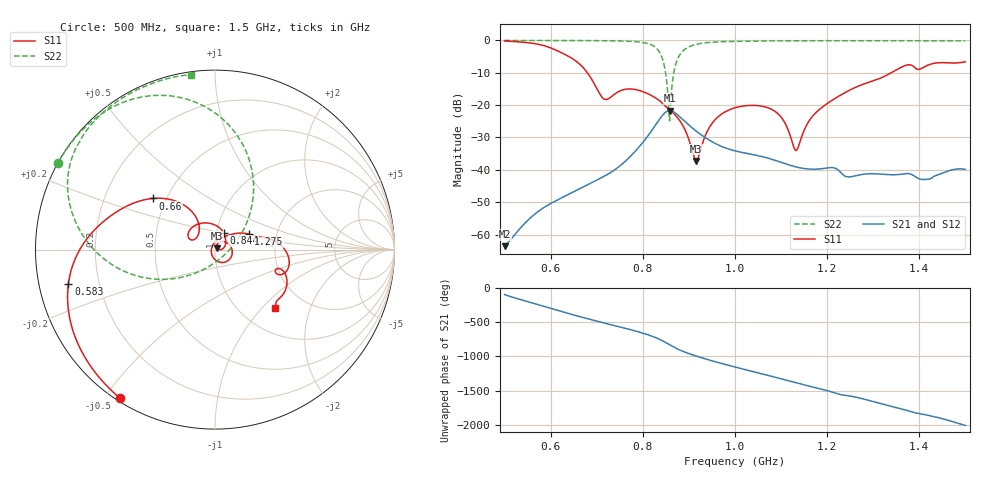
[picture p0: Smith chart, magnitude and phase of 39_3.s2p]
! TOUCHSTONE file generated by CST MICROWAVE STUDIO
! Date and time: Fri Oct 30 08:05:09 2020
! Project name: Scenario_1_Circular_Tissue_out_of_Line.cst
! Parameters = {dy1=312.958; L_HA=400; MT=2.54; Rad_Dielectric=30; Rad_Lower=7.3; Rad_Upper=30; a_HA=580; a_WG=246; b_HA=500; b_WG=121; c_HA=0; c_WG=187; d_feed=85; dx1=520; h_feed=15; h_lower=18; h_upper=40}
! Header version: 2018
! Port assignment regex: !\s*Touchstone port\s*([0-9]+)\s*=\s*(CST MWS port|CST DS port)\s*([0-9]+|Zmin|Zmax)\s*\(\"(.*)\"\)(\s*mode\s*([0-9]+))?.*
! Touchstone port assignment:
! Touchstone port 1 = CST MWS port 1 ("")
! Touchstone port 2 = CST MWS port 2 ("")
# GHz S DB R 50
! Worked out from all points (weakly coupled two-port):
!   1001 points, 500 MHz to 1.5 GHz, reference 50 ohm
!   highest |S21| = -21.69 dB at 858 MHz (marker M1); lowest = -63.6 dB at 500 MHz (marker M2)
!   lowest |S11| = -37.3 dB at 916 MHz (marker M3), VSWR 1.03, Z = 51.1 + j0.795 ohm
!   |S11| at or under -10 dB: 679.7 MHz to 1.339 GHz (659.1 MHz wide, 65.3 % of centre)
!   |S22| runs from -24.8 to 0.0 dB; largest |S21 - S12| = 0.00016
!   S11 on the Smith chart (normalised r, x): 500 MHz: 0.01, -0.55; 583 MHz: 0.09, -0.11; 660 MHz: 0.42, +0.30; 844 MHz: 1.08, +0.20; 1.275 GHz: 1.43, +0.26; 1.5 GHz: 1.43, -1.19
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0.5  -0.15 -122.5  -63.60 -92.8  -63.60 -92.8  -0.01 151.1
0.583  -1.52 -166.8  -51.86 98.4  -51.86 98.4  -0.02 145.4
0.66  -6.96 140.5  -46.09 -50.6  -46.09 -50.6  -0.04 139.0
0.667  -7.88 135.1  -45.58 -63.3  -45.58 -63.3  -0.04 138.4
0.717  -18.18 140.5  -41.92 -151.5  -41.92 -151.5  -0.09 132.7
0.791  -15.42 121.9  -33.06 80.1  -33.06 80.1  -0.46 116.7
0.834  -18.38 75.2  -24.80 -21.6  -24.80 -21.6  -3.14 83.5
0.844  -19.60 62.7  -22.92 -54.9  -22.92 -54.9  -6.36 64.5
0.858  -21.42 47.1  -21.69 -108.7  -21.69 -108.7  -24.84 -53.4
0.869  -22.88 33.3  -22.28 -149.8  -22.28 -149.8  -8.67 -153.4
0.877  -24.21 22.7  -23.20 -176.0  -23.20 -176.0  -5.25 -168.8
0.916  -37.28 34.6  -28.05 86.1  -28.05 86.1  -1.21 160.0
0.951  -25.49 54.7  -31.38 14.9  -31.38 14.9  -0.54 148.9
1  -20.82 7.9  -34.13 -73.9  -34.10 -73.7  -0.28 140.3
1.086  -21.84 -62.4  -37.01 138.1  -37.01 138.2  -0.14 131.0
1.107  -25.17 -91.1  -38.02 100.5  -38.02 100.5  -0.12 129.1
1.132  -34.02 172.1  -39.09 56.3  -39.10 56.1  -0.11 127.0
1.167  -23.67 66.6  -39.80 -3.0  -39.80 -3.0  -0.10 124.2
1.275  -13.71 24.7  -41.44 -175.6  -41.44 -175.6  -0.08 116.0
1.334  -10.38 12.0  -41.49 78.8  -41.49 78.8  -0.09 111.5
1.417  -7.73 -18.6  -42.94 -57.9  -42.95 -57.8  -0.10 105.0
1.5  -6.62 -44.1  -39.86 150.2  -39.86 150.2  -0.13 97.9
